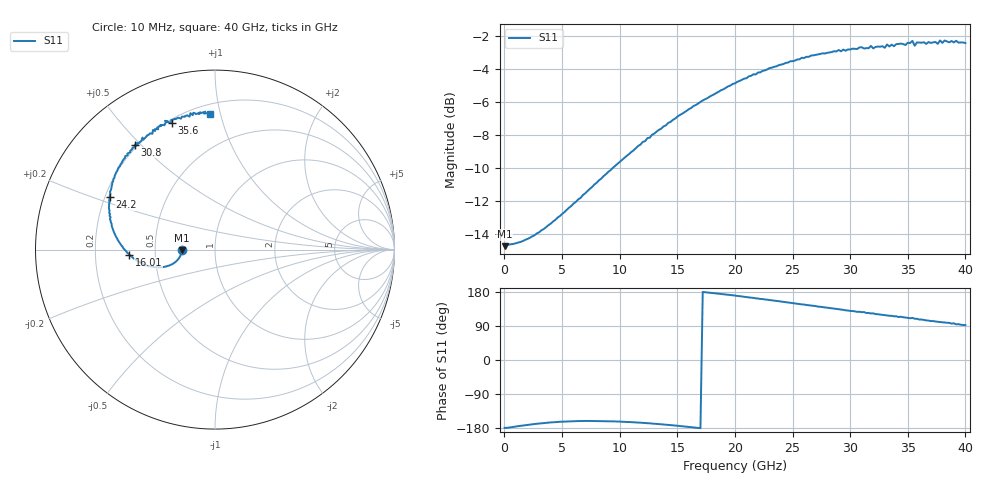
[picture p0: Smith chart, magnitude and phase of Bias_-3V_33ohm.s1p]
!Agilent Technologies,N5227A,US51270434,A.10.00.00
!Agilent N5227A: A.10.00.00
!Date: Monday, March 30, 2026 11:27:18
!Correction: S11(Full 1 Port(1))
!S1P File: Measurement: S11:
# Hz S  dB  R 50
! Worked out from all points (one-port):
!   201 points, 10 MHz to 40 GHz, reference 50 ohm
!   lowest |S11| = -14.7 dB at 10 MHz (marker M1), VSWR 1.45, Z = 34.5 - j0.222 ohm
!   |S11| at or under -10 dB: start of sweep to 9.374 GHz
!   S11 on the Smith chart (normalised r, x): 10 MHz: 0.69, -0.00; 16.01 GHz: 0.35, -0.03; 24.2 GHz: 0.22, +0.22; 30.8 GHz: 0.19, +0.48; 35.6 GHz: 0.22, +0.69; 40 GHz: 0.26, +0.93
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1e7  -14.73 -179.0
2.60935e9  -14.07 -168.9
5.00875e9  -12.77 -162.7
1.00075e10  -9.61 -162.5
1.260685e10  -8.15 -167.0
1.500625e10  -6.87 -173.5
1.6006e10  -6.41 -176.6
2.0005e10  -4.85 170.1
2.20045e10  -4.19 162.2
2.420395e10  -3.68 153.5
2.500375e10  -3.50 150.2
2.76031e10  -3.03 139.6
3.00025e10  -2.80 129.5
3.08023e10  -2.67 127.3
3.500125e10  -2.38 111.2
3.52012e10  -2.40 110.1
3.540115e10  -2.27 111.2
3.56011e10  -2.56 108.9
3.580105e10  -2.36 108.7
3.6001e10  -2.37 106.7
3.76006e10  -2.45 100.8
3.780055e10  -2.25 100.2
3.860035e10  -2.36 98.0
3.88003e10  -2.28 96.0
3.900025e10  -2.36 96.8
3.92002e10  -2.26 94.0
3.940015e10  -2.38 94.6
4e10  -2.41 92.0
